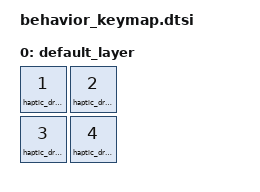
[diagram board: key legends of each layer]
#include <dt-bindings/zmk/keys.h>
#include <behaviors.dtsi>
/ {

    kscan: native_posix_64_kscan_mock {
		compatible = "zmk,kscan-mock";
		label = "KSCAN_MOCK";

		exit-after;
	};

    haptic_drv2605: haptic_drv2605 {
        compatible = "zmk,behavior-haptic-drv2605";
        #binding-cells = <1>;
        haptic-device = <&drv2605_0>;
    };

    keymap {
        compatible = "zmk,keymap";
        default_layer {
            bindings = <
                &haptic_drv2605 1 &haptic_drv2605 2
                &haptic_drv2605 3 &haptic_drv2605 4
            >;
        };
    };
};
